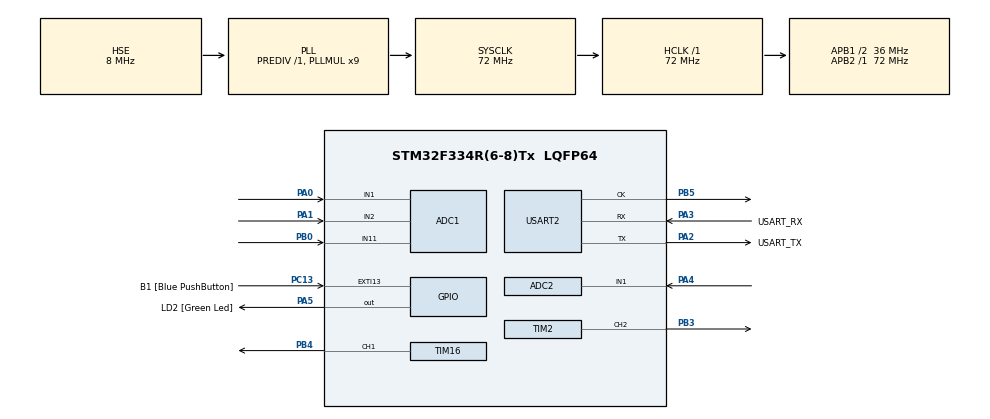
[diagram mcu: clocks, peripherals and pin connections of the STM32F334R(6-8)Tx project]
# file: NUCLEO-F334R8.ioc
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ADC1.Channel-4\#ChannelRegularConversion=ADC_CHANNEL_1
ADC1.Channel-5\#ChannelRegularConversion=ADC_CHANNEL_2
ADC1.Channel-6\#ChannelRegularConversion=ADC_CHANNEL_11
ADC1.ContinuousConvMode=ENABLE
ADC1.DMAContinuousRequests=ENABLE
ADC1.NbrOfConversion=3
ADC1.NbrOfConversionFlag=1
ADC1.Offset-4\#ChannelRegularConversion=0
ADC1.Offset-5\#ChannelRegularConversion=0
ADC1.Offset-6\#ChannelRegularConversion=0
ADC1.OffsetNumber-4\#ChannelRegularConversion=ADC_OFFSET_NONE
ADC1.OffsetNumber-5\#ChannelRegularConversion=ADC_OFFSET_NONE
ADC1.OffsetNumber-6\#ChannelRegularConversion=ADC_OFFSET_NONE
ADC1.Rank-4\#ChannelRegularConversion=1
ADC1.Rank-5\#ChannelRegularConversion=2
ADC1.Rank-6\#ChannelRegularConversion=3
ADC1.SamplingTime-4\#ChannelRegularConversion=ADC_SAMPLETIME_181CYCLES_5
ADC1.SamplingTime-5\#ChannelRegularConversion=ADC_SAMPLETIME_181CYCLES_5
ADC1.SamplingTime-6\#ChannelRegularConversion=ADC_SAMPLETIME_181CYCLES_5
ADC1.master=1
ADC2.Channel-1\#ChannelRegularConversion=ADC_CHANNEL_1
ADC2.ContinuousConvMode=ENABLE
ADC2.NbrOfConversionFlag=1
ADC2.Offset-1\#ChannelRegularConversion=0
ADC2.OffsetNumber-1\#ChannelRegularConversion=ADC_OFFSET_NONE
ADC2.Rank-1\#ChannelRegularConversion=1
ADC2.SamplingTime-1\#ChannelRegularConversion=ADC_SAMPLETIME_1CYCLE_5
Mcu.Family=STM32F3
Mcu.Name=STM32F334R(6-8)Tx
Mcu.Package=LQFP64
NVIC.PriorityGroup=NVIC_PRIORITYGROUP_0
PA0.Mode=IN1-Single-Ended
PA0.Signal=ADC1_IN1
PA1.Mode=IN2-Single-Ended
PA1.Signal=ADC1_IN2
PA13.GPIO_Label=TMS
PA13.Mode=Serial_Wire
PA13.Signal=SYS_JTMS-SWDIO
PA14.GPIO_Label=TCK
PA14.Mode=Serial_Wire
PA14.Signal=SYS_JTCK-SWCLK
PA2.GPIO_Label=USART_TX
PA2.Mode=Synchronous
PA2.Signal=USART2_TX
PA3.GPIO_Label=USART_RX
PA3.Mode=Synchronous
PA3.Signal=USART2_RX
PA4.Mode=IN1-Single-Ended
PA4.Signal=ADC2_IN1
PA5.GPIO_Label=LD2 [Green Led]
PA5.GPIO_Speed=GPIO_SPEED_FREQ_HIGH
PA5.Signal=GPIO_Output
PB0.Mode=IN11-Single-Ended
PB0.Signal=ADC1_IN11
PB3.GPIO_Speed=GPIO_SPEED_FREQ_HIGH
PB3.Signal=S_TIM2_CH2
PB4.GPIO_Speed=GPIO_SPEED_FREQ_HIGH
PB4.Signal=S_TIM16_CH1
PB5.Mode=Synchronous
PB5.Signal=USART2_CK
PC13.GPIO_Label=B1 [Blue PushButton]
PC13.GPIO_ModeDefaultEXTI=GPIO_MODE_IT_FALLING
PC13.Signal=GPXTI13
PC14\ /\ OSC32_IN.Mode=LSE-External-Oscillator
PC14\ /\ OSC32_IN.Signal=RCC_OSC32_IN
PC15\ /\ OSC32_OUT.GPIO_Label=RCC_OSC32_OUT
PC15\ /\ OSC32_OUT.Mode=LSE-External-Oscillator
PC15\ /\ OSC32_OUT.Signal=RCC_OSC32_OUT
PF0\ /\ OSC_IN.Mode=HSE-External-Clock-Source
PF0\ /\ OSC_IN.Signal=RCC_OSC_IN
PF1\ /\ OSC_OUT.Signal=RCC_OSC_OUT
ProjectManager.HeapSize=0x200
ProjectManager.StackSize=0x400
ProjectManager.TargetToolchain=STM32CubeIDE
RCC.ADC12PRES=RCC_ADC12PLLCLK_DIV6
RCC.AHBFreq_Value=72000000
RCC.APB1CLKDivider=RCC_HCLK_DIV2
RCC.APB1Freq_Value=36000000
RCC.APB1TimFreq_Value=72000000
RCC.APB2Freq_Value=72000000
RCC.APB2TimFreq_Value=72000000
RCC.CortexFreq_Value=72000000
RCC.FLatency-AdvancedSettings=FLASH_LATENCY_2
RCC.HCLKFreq_Value=72000000
RCC.HSE_VALUE=8000000
RCC.HSI_VALUE=8000000
RCC.PLLMUL=RCC_PLL_MUL9
RCC.PLLSourceVirtual=RCC_PLLSOURCE_HSE
RCC.SYSCLKFreq_VALUE=72000000
RCC.SYSCLKSourceVirtual=RCC_SYSCLKSOURCE_PLLCLK
SH.S_TIM16_CH1.0=TIM16_CH1,PWM Generation1 CH1
SH.S_TIM2_CH2.0=TIM2_CH2,PWM Generation2 CH2
TIM16.AutoReloadPreload=TIM_AUTORELOAD_PRELOAD_ENABLE
TIM16.Channel=TIM_CHANNEL_1
TIM16.Period=71
TIM16.Pulse=35
TIM2.AutoReloadPreload=TIM_AUTORELOAD_PRELOAD_ENABLE
TIM2.Channel-PWM\ Generation2\ CH2=TIM_CHANNEL_2
TIM2.Period=71
USART2.VirtualMode-Synchronous=VM_SYNC
VP_TIM16_VS_ClockSourceINT.Mode=Enable_Timer
VP_TIM2_VS_ClockSourceINT.Mode=Internal
board=NUCLEO-F334R8

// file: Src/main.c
/* USER CODE BEGIN Header */
/* USER CODE END Header */

#include "main.h"

/* USER CODE BEGIN Includes */
#include "stdio.h"
#include "stm32f334x8.h"
#include "stm32f3xx.h"
#include "system_stm32f3xx.h"
/* USER CODE END Includes */

ADC_HandleTypeDef hadc1;
ADC_HandleTypeDef hadc2;

TIM_HandleTypeDef htim2;
TIM_HandleTypeDef htim16;

USART_HandleTypeDef husart2;

void SystemClock_Config(void);
static void MX_GPIO_Init(void);
static void MX_USART2_Init(void);
static void MX_TIM2_Init(void);
static void MX_TIM16_Init(void);
static void MX_ADC1_Init(void);
static void MX_ADC2_Init(void);

int main(void)
{
  /* USER CODE BEGIN 1 */

	// SETUP BARE TIMER2
	// ENABLE PERIPHERALS
	RCC->APB1ENR |= RCC_APB1ENR_TIM2EN ;
	RCC->AHBENR |= RCC_AHBENR_GPIOBEN ;
	// PORTB PB3 to alternate function
	GPIOB->MODER &= ~(GPIO_MODER_MODER3_0) ;
	GPIOB->MODER |= GPIO_MODER_MODER3_1 ;
	// TIMER2 Settings
	TIM2->CR1 &= ~(TIM_CR1_CEN);
	TIM2->CCMR1 |= TIM_CCMR1_OC2M_2 | TIM_CCMR1_OC2M_3 | TIM_CCMR1_OC2PE ;
	TIM2->PSC = 0 ;
	TIM2->ARR = 1000 ;
	TIM2->CCR2 = 500 ;
	TIM2->CCER |= TIM_CCER_CC2E ;
	TIM2->CR1 |= TIM_CR1_ARPE ;
	TIM2->EGR |= TIM_EGR_UG ;
	// ENABLE TIMER2
	TIM2->CR1 |= TIM_CR1_CEN ;
	//__HAL_RCC_GPIOB_CLK_ENABLE();
	RCC->APB1ENR |= RCC_APB1ENR_TIM2EN ;
	RCC->AHBENR |= RCC_AHBENR_GPIOBEN ;

	// SETUP BARE TIMER16
	// ENABLE PERIPHERALS
	RCC->APB2ENR |= RCC_APB2ENR_TIM16EN ;
	RCC->AHBENR |= RCC_AHBENR_GPIOBEN ;
	// PORTB PB4 to alternate function
	GPIOB->MODER &= ~(GPIO_MODER_MODER4_0) ;
	GPIOB->MODER |= GPIO_MODER_MODER4_1 ;
	// TIMER16 Settings
	TIM16->CR1 &= ~(TIM_CR1_CEN);
	TIM16->CCMR1 |= TIM_CCMR1_OC1M_2 | TIM_CCMR1_OC1M_3 | TIM_CCMR1_OC1PE ;
	TIM16->PSC = 0 ;
	TIM16->ARR = 1000 ;
	TIM16->CCR2 = 500 ;
	TIM16->CCER |= TIM_CCER_CC2E ;
	TIM16->CR1 |= TIM_CR1_ARPE ;
	TIM16->EGR |= TIM_EGR_UG ;
	// ENABLE TIMER16
	TIM16->CR1 |= TIM_CR1_CEN ;
	//__HAL_RCC_GPIOB_CLK_ENABLE();
	RCC->APB2ENR |= RCC_APB2ENR_TIM16EN ;
	RCC->AHBENR |= RCC_AHBENR_GPIOBEN ;

  /* USER CODE END 1 */

  /* MCU Configuration--------------------------------------------------------*/

  /* Reset of all peripherals, Initializes the Flash interface and the Systick. */
  HAL_Init();

  /* Configure the system clock */
  SystemClock_Config();

  /* Initialize all configured peripherals */
  MX_GPIO_Init();
  MX_USART2_Init();
  MX_TIM2_Init();
  MX_TIM16_Init();
  MX_ADC1_Init();
  MX_ADC2_Init();
  /* USER CODE BEGIN 2 */
  //HAL_TIM_PWM_Start(&htim2, TIM_CHANNEL_2);
  //HAL_TIM_PWM_Start(&htim16, TIM_CHANNEL_1);
  HAL_ADC_Start(&hadc1);
  HAL_ADC_Start(&hadc2);

  //Set ADC output
  uint32_t data_ADC_PA0 ;
  uint32_t data_ADC_PA1 ;
  uint32_t data_ADC_PB4 ;
  uint32_t data_ADC_PB0 ;

  //Set ADC mapped output
  float mapped_ADC_PA0 ;
  float mapped_ADC_PA1 ;
  float mapped_ADC_PB4 ;
  float mapped_ADC_PB0 ;

  //Map ranges of number
  long map(long x, long in_min, long in_max, long out_min, long out_max)
  	  {
	  return (x - in_min) * (out_max - out_min) / (in_max - in_min) + out_min;
  	  }
  /* USER CODE END 2 */

  /* Infinite loop */
  /* USER CODE BEGIN WHILE */
  while (1)
  {
	  HAL_Delay(500) ;
	      for (;;)
	      {
	          if (HAL_ADC_PollForConversion(&hadc1, 1000000) == HAL_OK)
	          {
	        	  data_ADC_PA0 = HAL_ADC_GetValue(&hadc1);
	        	  mapped_ADC_PA0 = map(data_ADC_PA0, 0, 4095, 73, 250);
	          }

	          if (HAL_ADC_PollForConversion(&hadc2, 1000000) == HAL_OK)
			  {
	        	  data_ADC_PA1 = HAL_ADC_GetValue(&hadc2);
			  	  mapped_ADC_PA1 = map(data_ADC_PA1, 0, 4095, 0, 72);
			  }
	      }

__HAL_TIM_SET_COMPARE(&htim2,TIM_CHANNEL_2,5);

    /* USER CODE END WHILE */

  }
}

void SystemClock_Config(void)
{
  RCC_OscInitTypeDef RCC_OscInitStruct = {0};
  RCC_ClkInitTypeDef RCC_ClkInitStruct = {0};
  RCC_PeriphCLKInitTypeDef PeriphClkInit = {0};

  /** Initializes the CPU, AHB and APB busses clocks
  */
  RCC_OscInitStruct.OscillatorType = RCC_OSCILLATORTYPE_HSE;
  RCC_OscInitStruct.HSEState = RCC_HSE_BYPASS;
  RCC_OscInitStruct.HSEPredivValue = RCC_HSE_PREDIV_DIV1;
  RCC_OscInitStruct.HSIState = RCC_HSI_ON;
  RCC_OscInitStruct.PLL.PLLState = RCC_PLL_ON;
  RCC_OscInitStruct.PLL.PLLSource = RCC_PLLSOURCE_HSE;
  RCC_OscInitStruct.PLL.PLLMUL = RCC_PLL_MUL9;
  if (HAL_RCC_OscConfig(&RCC_OscInitStruct) != HAL_OK)
  {
    Error_Handler();
  }
  /** Initializes the CPU, AHB and APB busses clocks
  */
  RCC_ClkInitStruct.ClockType = RCC_CLOCKTYPE_HCLK|RCC_CLOCKTYPE_SYSCLK
                              |RCC_CLOCKTYPE_PCLK1|RCC_CLOCKTYPE_PCLK2;
  RCC_ClkInitStruct.SYSCLKSource = RCC_SYSCLKSOURCE_PLLCLK;
  RCC_ClkInitStruct.AHBCLKDivider = RCC_SYSCLK_DIV1;
  RCC_ClkInitStruct.APB1CLKDivider = RCC_HCLK_DIV2;
  RCC_ClkInitStruct.APB2CLKDivider = RCC_HCLK_DIV1;

  if (HAL_RCC_ClockConfig(&RCC_ClkInitStruct, FLASH_LATENCY_2) != HAL_OK)
  {
    Error_Handler();
  }
  PeriphClkInit.PeriphClockSelection = RCC_PERIPHCLK_ADC12;
  PeriphClkInit.Adc12ClockSelection = RCC_ADC12PLLCLK_DIV6;
  if (HAL_RCCEx_PeriphCLKConfig(&PeriphClkInit) != HAL_OK)
  {
    Error_Handler();
  }
}

static void MX_ADC1_Init(void)
{

  ADC_MultiModeTypeDef multimode = {0};
  ADC_ChannelConfTypeDef sConfig = {0};

  /** Common config
  */
  hadc1.Instance = ADC1;
  hadc1.Init.ClockPrescaler = ADC_CLOCK_ASYNC_DIV1;
  hadc1.Init.Resolution = ADC_RESOLUTION_12B;
  hadc1.Init.ScanConvMode = ADC_SCAN_ENABLE;
  hadc1.Init.ContinuousConvMode = ENABLE;
  hadc1.Init.DiscontinuousConvMode = DISABLE;
  hadc1.Init.ExternalTrigConvEdge = ADC_EXTERNALTRIGCONVEDGE_NONE;
  hadc1.Init.ExternalTrigConv = ADC_SOFTWARE_START;
  hadc1.Init.DataAlign = ADC_DATAALIGN_RIGHT;
  hadc1.Init.NbrOfConversion = 3;
  hadc1.Init.DMAContinuousRequests = ENABLE;
  hadc1.Init.EOCSelection = ADC_EOC_SINGLE_CONV;
  hadc1.Init.LowPowerAutoWait = DISABLE;
  hadc1.Init.Overrun = ADC_OVR_DATA_OVERWRITTEN;
  if (HAL_ADC_Init(&hadc1) != HAL_OK)
  {
    Error_Handler();
  }
  /** Configure the ADC multi-mode
  */
  multimode.Mode = ADC_MODE_INDEPENDENT;
  if (HAL_ADCEx_MultiModeConfigChannel(&hadc1, &multimode) != HAL_OK)
  {
    Error_Handler();
  }
  /** Configure Regular Channel
  */
  sConfig.Channel = ADC_CHANNEL_1;
  sConfig.Rank = ADC_REGULAR_RANK_1;
  sConfig.SingleDiff = ADC_SINGLE_ENDED;
  sConfig.SamplingTime = ADC_SAMPLETIME_181CYCLES_5;
  sConfig.OffsetNumber = ADC_OFFSET_NONE;
  sConfig.Offset = 0;
  if (HAL_ADC_ConfigChannel(&hadc1, &sConfig) != HAL_OK)
  {
    Error_Handler();
  }
  /** Configure Regular Channel
  */
  sConfig.Channel = ADC_CHANNEL_2;
  sConfig.Rank = ADC_REGULAR_RANK_2;
  if (HAL_ADC_ConfigChannel(&hadc1, &sConfig) != HAL_OK)
  {
    Error_Handler();
  }
  /** Configure Regular Channel
  */
  sConfig.Channel = ADC_CHANNEL_11;
  sConfig.Rank = ADC_REGULAR_RANK_3;
  if (HAL_ADC_ConfigChannel(&hadc1, &sConfig) != HAL_OK)
  {
    Error_Handler();
  }

}

static void MX_ADC2_Init(void)
{

  ADC_ChannelConfTypeDef sConfig = {0};

  /** Common config
  */
  hadc2.Instance = ADC2;
  hadc2.Init.ClockPrescaler = ADC_CLOCK_ASYNC_DIV1;
  hadc2.Init.Resolution = ADC_RESOLUTION_12B;
  hadc2.Init.ScanConvMode = ADC_SCAN_DISABLE;
  hadc2.Init.ContinuousConvMode = ENABLE;
  hadc2.Init.DiscontinuousConvMode = DISABLE;
  hadc2.Init.ExternalTrigConvEdge = ADC_EXTERNALTRIGCONVEDGE_NONE;
  hadc2.Init.ExternalTrigConv = ADC_SOFTWARE_START;
  hadc2.Init.DataAlign = ADC_DATAALIGN_RIGHT;
  hadc2.Init.NbrOfConversion = 1;
  hadc2.Init.DMAContinuousRequests = DISABLE;
  hadc2.Init.EOCSelection = ADC_EOC_SINGLE_CONV;
  hadc2.Init.LowPowerAutoWait = DISABLE;
  hadc2.Init.Overrun = ADC_OVR_DATA_OVERWRITTEN;
  if (HAL_ADC_Init(&hadc2) != HAL_OK)
  {
    Error_Handler();
  }
  /** Configure Regular Channel
  */
  sConfig.Channel = ADC_CHANNEL_1;
  sConfig.Rank = ADC_REGULAR_RANK_1;
  sConfig.SingleDiff = ADC_SINGLE_ENDED;
  sConfig.SamplingTime = ADC_SAMPLETIME_1CYCLE_5;
  sConfig.OffsetNumber = ADC_OFFSET_NONE;
  sConfig.Offset = 0;
  if (HAL_ADC_ConfigChannel(&hadc2, &sConfig) != HAL_OK)
  {
    Error_Handler();
  }

}

static void MX_TIM2_Init(void)
{

  TIM_ClockConfigTypeDef sClockSourceConfig = {0};
  TIM_MasterConfigTypeDef sMasterConfig = {0};
  TIM_OC_InitTypeDef sConfigOC = {0};

  htim2.Instance = TIM2;
  htim2.Init.Prescaler = 0;
  htim2.Init.CounterMode = TIM_COUNTERMODE_UP;
  htim2.Init.Period = 71;
  htim2.Init.ClockDivision = TIM_CLOCKDIVISION_DIV1;
  htim2.Init.AutoReloadPreload = TIM_AUTORELOAD_PRELOAD_ENABLE;
  if (HAL_TIM_Base_Init(&htim2) != HAL_OK)
  {
    Error_Handler();
  }
  sClockSourceConfig.ClockSource = TIM_CLOCKSOURCE_INTERNAL;
  if (HAL_TIM_ConfigClockSource(&htim2, &sClockSourceConfig) != HAL_OK)
  {
    Error_Handler();
  }
  if (HAL_TIM_PWM_Init(&htim2) != HAL_OK)
  {
    Error_Handler();
  }
  sMasterConfig.MasterOutputTrigger = TIM_TRGO_RESET;
  sMasterConfig.MasterSlaveMode = TIM_MASTERSLAVEMODE_DISABLE;
  if (HAL_TIMEx_MasterConfigSynchronization(&htim2, &sMasterConfig) != HAL_OK)
  {
    Error_Handler();
  }
  sConfigOC.OCMode = TIM_OCMODE_PWM1;
  sConfigOC.Pulse = 0;
  sConfigOC.OCPolarity = TIM_OCPOLARITY_HIGH;
  sConfigOC.OCFastMode = TIM_OCFAST_DISABLE;
  if (HAL_TIM_PWM_ConfigChannel(&htim2, &sConfigOC, TIM_CHANNEL_2) != HAL_OK)
  {
    Error_Handler();
  }
  HAL_TIM_MspPostInit(&htim2);

}

static void MX_TIM16_Init(void)
{

  TIM_OC_InitTypeDef sConfigOC = {0};
  TIM_BreakDeadTimeConfigTypeDef sBreakDeadTimeConfig = {0};

  htim16.Instance = TIM16;
  htim16.Init.Prescaler = 0;
  htim16.Init.CounterMode = TIM_COUNTERMODE_UP;
  htim16.Init.Period = 71;
  htim16.Init.ClockDivision = TIM_CLOCKDIVISION_DIV1;
  htim16.Init.RepetitionCounter = 0;
  htim16.Init.AutoReloadPreload = TIM_AUTORELOAD_PRELOAD_ENABLE;
  if (HAL_TIM_Base_Init(&htim16) != HAL_OK)
  {
    Error_Handler();
  }
  if (HAL_TIM_PWM_Init(&htim16) != HAL_OK)
  {
    Error_Handler();
  }
  sConfigOC.OCMode = TIM_OCMODE_PWM1;
  sConfigOC.Pulse = 35;
  sConfigOC.OCPolarity = TIM_OCPOLARITY_HIGH;
  sConfigOC.OCNPolarity = TIM_OCNPOLARITY_HIGH;
  sConfigOC.OCFastMode = TIM_OCFAST_DISABLE;
  sConfigOC.OCIdleState = TIM_OCIDLESTATE_RESET;
  sConfigOC.OCNIdleState = TIM_OCNIDLESTATE_RESET;
  if (HAL_TIM_PWM_ConfigChannel(&htim16, &sConfigOC, TIM_CHANNEL_1) != HAL_OK)
  {
    Error_Handler();
  }
  sBreakDeadTimeConfig.OffStateRunMode = TIM_OSSR_DISABLE;
  sBreakDeadTimeConfig.OffStateIDLEMode = TIM_OSSI_DISABLE;
  sBreakDeadTimeConfig.LockLevel = TIM_LOCKLEVEL_OFF;
  sBreakDeadTimeConfig.DeadTime = 0;
  sBreakDeadTimeConfig.BreakState = TIM_BREAK_DISABLE;
  sBreakDeadTimeConfig.BreakPolarity = TIM_BREAKPOLARITY_HIGH;
  sBreakDeadTimeConfig.BreakFilter = 0;
  sBreakDeadTimeConfig.AutomaticOutput = TIM_AUTOMATICOUTPUT_DISABLE;
  if (HAL_TIMEx_ConfigBreakDeadTime(&htim16, &sBreakDeadTimeConfig) != HAL_OK)
  {
    Error_Handler();
  }
  HAL_TIM_MspPostInit(&htim16);

}

static void MX_USART2_Init(void)
{

  husart2.Instance = USART2;
  husart2.Init.BaudRate = 38400;
  husart2.Init.WordLength = USART_WORDLENGTH_8B;
  husart2.Init.StopBits = USART_STOPBITS_1;
  husart2.Init.Parity = USART_PARITY_NONE;
  husart2.Init.Mode = USART_MODE_TX_RX;
  husart2.Init.CLKPolarity = USART_POLARITY_LOW;
  husart2.Init.CLKPhase = USART_PHASE_1EDGE;
  husart2.Init.CLKLastBit = USART_LASTBIT_DISABLE;
  if (HAL_USART_Init(&husart2) != HAL_OK)
  {
    Error_Handler();
  }

}

static void MX_GPIO_Init(void)
{
  GPIO_InitTypeDef GPIO_InitStruct = {0};

  /* GPIO Ports Clock Enable */
  __HAL_RCC_GPIOC_CLK_ENABLE();
  __HAL_RCC_GPIOF_CLK_ENABLE();
  __HAL_RCC_GPIOA_CLK_ENABLE();
  __HAL_RCC_GPIOB_CLK_ENABLE();

  /*Configure GPIO pin Output Level */
  HAL_GPIO_WritePin(LD2_GPIO_Port, LD2_Pin, GPIO_PIN_RESET);

  /*Configure GPIO pin : B1_Pin */
  GPIO_InitStruct.Pin = B1_Pin;
  GPIO_InitStruct.Mode = GPIO_MODE_IT_FALLING;
  GPIO_InitStruct.Pull = GPIO_NOPULL;
  HAL_GPIO_Init(B1_GPIO_Port, &GPIO_InitStruct);

  /*Configure GPIO pin : LD2_Pin */
  GPIO_InitStruct.Pin = LD2_Pin;
  GPIO_InitStruct.Mode = GPIO_MODE_OUTPUT_PP;
  GPIO_InitStruct.Pull = GPIO_NOPULL;
  GPIO_InitStruct.Speed = GPIO_SPEED_FREQ_HIGH;
  HAL_GPIO_Init(LD2_GPIO_Port, &GPIO_InitStruct);

}

void Error_Handler(void)
{
}

/************************ (C) COPYRIGHT STMicroelectronics *****END OF FILE****/
